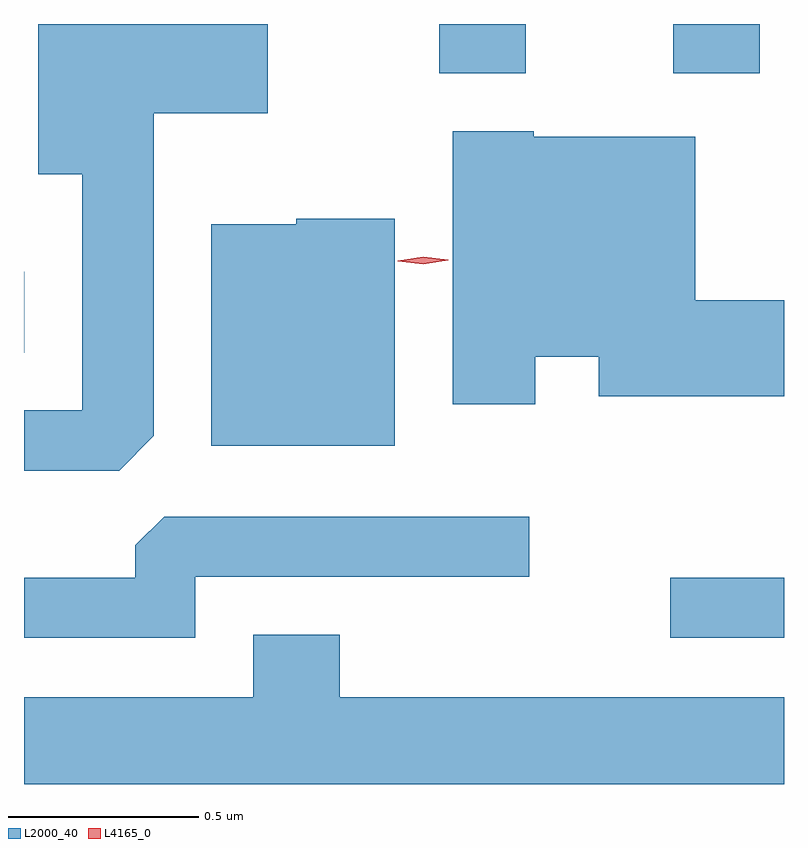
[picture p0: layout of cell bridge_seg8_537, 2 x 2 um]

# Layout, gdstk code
import gdstk
lib = gdstk.Library(unit=1e-6, precision=1e-09)
def R(c, l, rs):  # rectangles x0, y0, x1, y1
    for r in rs: c.add(gdstk.rectangle(r[:2], r[2:], *l))
def P(c, l, *ps):  # polygons
    for p in ps: c.add(gdstk.Polygon(p, *l))
L2000_40 = (2000, 40)
L4165_0 = (4165, 0)

bridge_seg8_537 = lib.new_cell('bridge_seg8_537')
R(bridge_seg8_537, L2000_40, [(291.698,1850.161,291.998,1850.319), (289.998,1850.911,289.999,1851.124), (291.091,1851.646,291.319,1851.776), (291.706,1851.646,291.934,1851.776)])
P(bridge_seg8_537, L2000_40, [(290.339,1850.692),(290.339,1851.541),(290.639,1851.541),(290.639,1851.776),(290.036,1851.776),(290.036,1851.381),(290.151,1851.381),(290.151,1850.759),(289.998,1850.759),(289.998,1850.601),(290.249,1850.601)],
  [(291.344,1850.901),(291.511,1850.901),(291.511,1850.796),(291.998,1850.796),(291.998,1851.049),(291.764,1851.049),(291.764,1851.479),(291.34,1851.479),(291.34,1851.494),(291.126,1851.494),(291.126,1850.776),(291.344,1850.776)],
  [(290.974,1851.264),(290.715,1851.264),(290.715,1851.249),(290.491,1851.249),(290.491,1850.666),(290.974,1850.666)],
  [(290.449,1850.321),(291.328,1850.321),(291.328,1850.479),(290.367,1850.479),(290.291,1850.404),(290.291,1850.319),(289.998,1850.319),(289.998,1850.161),(290.449,1850.161)],
  [(291.998,1850.004),(290.829,1850.004),(290.829,1850.169),(290.601,1850.169),(290.601,1850.004),(289.998,1850.004),(289.998,1849.776),(291.998,1849.776)])
P(bridge_seg8_537, L4165_0, [(291.048,1851.144),(290.982,1851.152),(290.982,1851.152),(290.982,1851.153),(291.048,1851.164),(291.114,1851.155),(291.115,1851.155),(291.114,1851.154)])

lib.write_gds('bridge_seg8_537.gds')
